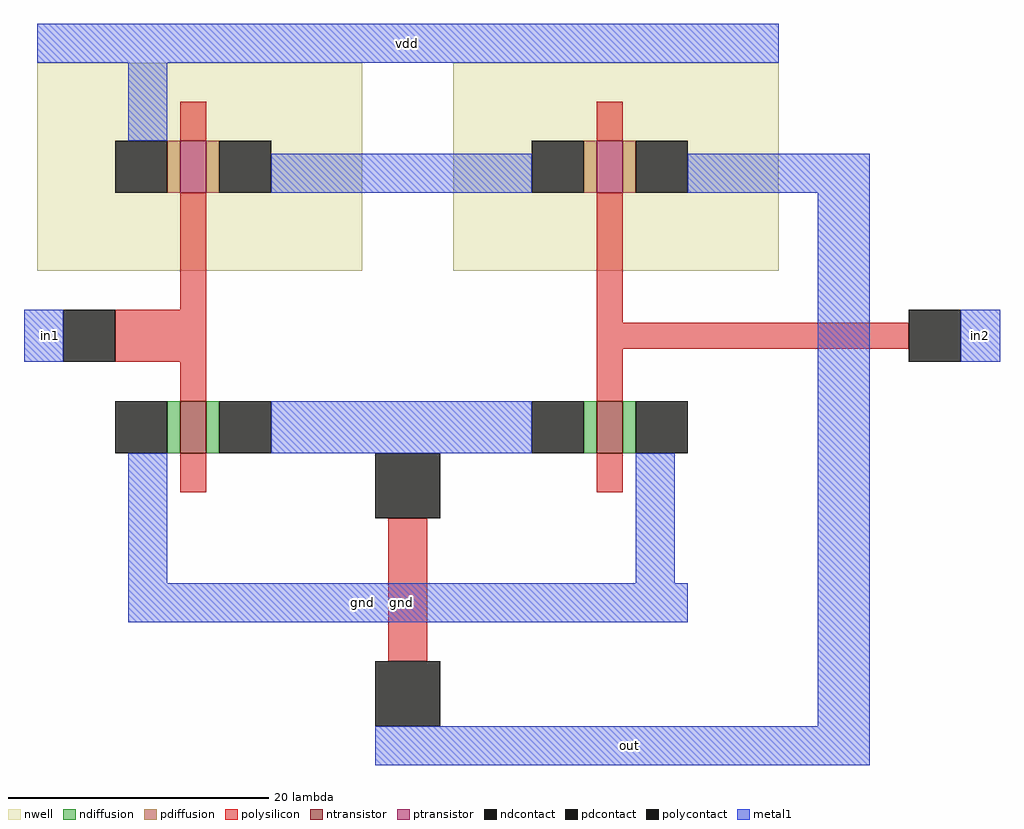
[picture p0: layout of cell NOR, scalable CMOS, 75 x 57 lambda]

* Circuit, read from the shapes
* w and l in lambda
.subckt NOR gnd in1 in2 out vdd
M1 out in1 gnd VSUBS nfet w=4 l=2
M2 gnd in2 out VSUBS nfet w=4 l=2
M3 n1 in1 vdd n2 pfet w=4 l=2
M4 out in2 n1 n3 pfet w=4 l=2
.ends

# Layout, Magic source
magic
tech scmos
<< nwell >>
rect 0 0 25 16
rect 32 0 57 16
<< ntransistor >>
rect 11 -14 13 -10
rect 43 -14 45 -10
<< ptransistor >>
rect 11 6 13 10
rect 43 6 45 10
<< ndiffusion >>
rect 10 -14 11 -10
rect 13 -14 14 -10
rect 42 -14 43 -10
rect 45 -14 46 -10
<< pdiffusion >>
rect 10 6 11 10
rect 13 6 14 10
rect 42 6 43 10
rect 45 6 46 10
<< ndcontact >>
rect 6 -14 10 -10
rect 14 -14 18 -10
rect 38 -14 42 -10
rect 46 -14 50 -10
<< pdcontact >>
rect 6 6 10 10
rect 14 6 18 10
rect 38 6 42 10
rect 46 6 50 10
<< polysilicon >>
rect 11 10 13 13
rect 43 10 45 13
rect 11 -3 13 6
rect 6 -7 13 -3
rect 11 -10 13 -7
rect 43 -4 45 6
rect 43 -6 67 -4
rect 43 -10 45 -6
rect 11 -17 13 -14
rect 43 -17 45 -14
rect 27 -30 30 -19
<< polycontact >>
rect 2 -7 6 -3
rect 67 -7 71 -3
rect 26 -19 31 -14
rect 26 -35 31 -30
<< metal1 >>
rect 0 16 57 19
rect 7 10 10 16
rect 18 6 38 9
rect 50 6 64 9
rect -1 -7 2 -3
rect 18 -14 38 -10
rect 7 -24 10 -14
rect 46 -24 49 -14
rect 7 -27 50 -24
rect 60 -35 64 6
rect 71 -7 74 -3
rect 26 -38 64 -35
<< labels >>
rlabel metal1 0 16 57 19 5 vdd
rlabel metal1 0 -7 2 -3 3 in1
rlabel space 0 -27 50 -24 1 gnd
rlabel metal1 31 -38 60 -35 1 out
rlabel metal1 71 -7 74 -3 7 in2
rlabel metal1 7 -27 49 -24 1 gnd
<< end >>
